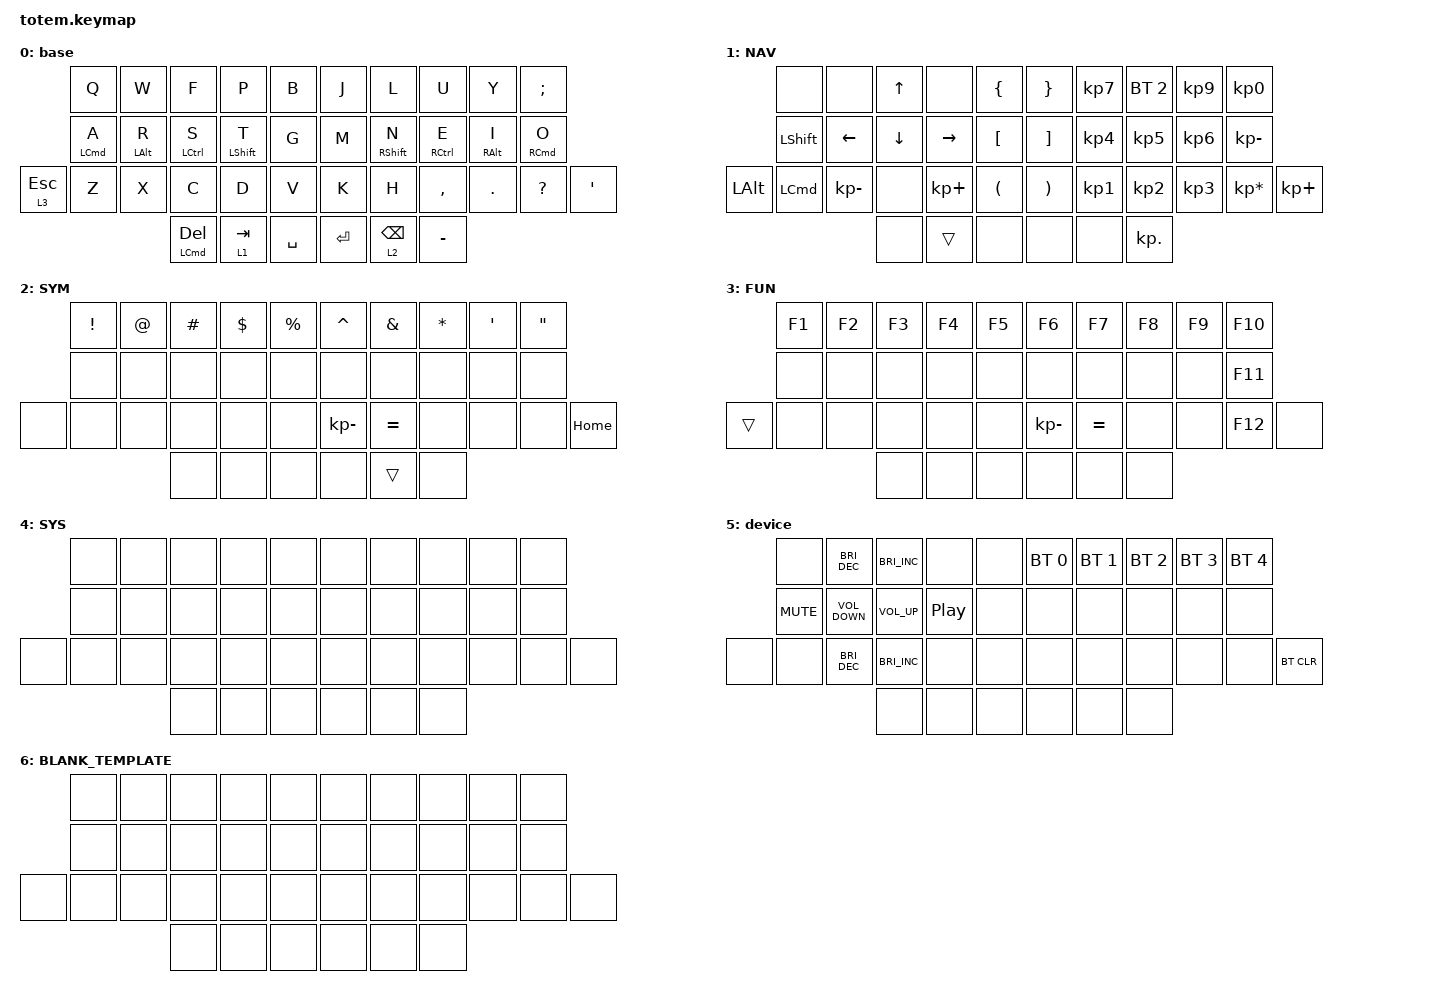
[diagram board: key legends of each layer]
//
//                                                        ▀▀▀▀▀     ▀▀▀▀▀          ▀▀█▀▀
//                                                        ▄▀▀▀▄  ▄  ▄▀▀▀▄  ▄  ▄▀▀▀▄  █  ▄▀▀▀▄
//                                                        █   █  █  █   █  █  █   █  █  █   █
//                                                         ▀▀▀   █   ▀▀▀   █   ▀▀▀   ▀   ▀▀▀
//                                                               █      ▄▄▄█▄▄▄    █   █  
//                                                               ▀      █  █  █     █▄█
//                                                             ▀▀▀▀▀    █  █  █      ▀
//                                                                      ▀  ▀  ▀
//
// ▄▄▄▄▄▄▄▄▄▄▄▄▄▄▄▄▄▄▄▄▄▄▄▄▄▄▄▄▄▄▄▄▄▄▄▄▄▄▄▄▄▄▄▄▄▄▄▄▄▄▄▄▄▄▄▄▄▄▄▄▄▄▄▄▄▄▄▄▄▄▄▄▄▄▄▄▄▄▄▄▄▄▄▄▄▄▄▄▄▄▄▄▄▄▄▄▄▄▄▄▄▄▄▄▄▄▄▄▄▄▄▄▄▄▄▄▄▄▄▄▄▄▄▄▄▄▄▄▄▄▄▄▄▄▄▄▄▄▄▄▄▄▄▄▄▄▄▄▄

#include <behaviors.dtsi>
#include <dt-bindings/zmk/bt.h>
#include <dt-bindings/zmk/keys.h>

/ {
    behaviors {
        tapKP_holdMO_prefTAP: tapKP_holdMO_prefTAP {
            compatible = "zmk,behavior-hold-tap";
            label = "TAPKP_HOLDMO_PREFTAP";
            bindings = <&mo>, <&kp>;

            #binding-cells = <2>;
            flavor = "tap-preferred";
            tapping-term-ms = <200>;
        };

        tapKP_holdKP_prefTAP: tapKP_holdKP_prefTAP {
            compatible = "zmk,behavior-hold-tap";
            label = "TAPKP_HOLDKP_PREFTAP";
            bindings = <&kp>, <&kp>;

            #binding-cells = <2>;
            tapping-term-ms = <200>;
            flavor = "tap-preferred";
        };

        tapKP_holdKP_prefHOLD: tapKP_holdKP_prefHOLD {
            compatible = "zmk,behavior-hold-tap";
            label = "TAPKP_HOLDKP_PREFHOLD";
            bindings = <&kp>, <&kp>;

            #binding-cells = <2>;
            tapping-term-ms = <200>;
            flavor = "hold-preferred";
        };

        tapKP_holdKP_prefBAL: tapKP_holdKP_prefBAL {
            compatible = "zmk,behavior-hold-tap";
            label = "TAPKP_HOLDKP_PREFBAL";
            bindings = <&kp>, <&kp>;

            #binding-cells = <2>;
            tapping-term-ms = <200>;
            flavor = "balanced";
        };
    };

    keymap {
        compatible = "zmk,keymap";

        base {
            bindings = <
                                &kp Q                                 &kp W                             &kp F                                      &kp P                               &kp B        &kp J      &kp L                                &kp U                                  &kp Y                              &kp SEMICOLON
                                &tapKP_holdKP_prefTAP LEFT_COMMAND A  &tapKP_holdKP_prefTAP LEFT_ALT R  &tapKP_holdKP_prefTAP LEFT_CONTROL S       &tapKP_holdKP_prefBAL LEFT_SHIFT T  &kp G        &kp M      &tapKP_holdKP_prefBAL RIGHT_SHIFT N  &tapKP_holdKP_prefTAP RIGHT_CONTROL E  &tapKP_holdKP_prefTAP RIGHT_ALT I  &tapKP_holdKP_prefBAL RIGHT_COMMAND O
&tapKP_holdMO_prefTAP 3 ESCAPE  &kp Z                                 &kp X                             &kp C                                      &kp D                               &kp V        &kp K      &kp H                                &kp COMMA                              &kp DOT                            &kp QUESTION                           &kp APOS
                                                                                                        &tapKP_holdKP_prefBAL LEFT_COMMAND DELETE  &tapKP_holdMO_prefTAP 1 TAB         &kp SPACE    &kp ENTER  &tapKP_holdMO_prefTAP 2 BACKSPACE    &kp MINUS
            >;
        };

        NAV {
            bindings = <
              &none             &none           &kp UP_ARROW    &none        &kp LEFT_BRACE          &kp RIGHT_BRACE        &kp KP_NUMBER_7  &bt BT_SEL 2     &kp KP_NUMBER_9  &kp KP_NUMBER_0
              &kp LEFT_SHIFT    &kp LEFT_ARROW  &kp DOWN_ARROW  &kp RIGHT    &kp LEFT_BRACKET        &kp RIGHT_BRACKET      &kp KP_NUMBER_4  &kp KP_NUMBER_5  &kp KP_NUMBER_6  &kp KP_MINUS
&kp LEFT_ALT  &kp LEFT_COMMAND  &kp KP_MINUS    &none           &kp KP_PLUS  &kp LEFT_PARENTHESIS    &kp RIGHT_PARENTHESIS  &kp KP_NUMBER_1  &kp KP_NUMBER_2  &kp KP_NUMBER_3  &kp KP_ASTERISK  &kp KP_PLUS
                                                &none           &trans       &none                   &none                  &none            &kp KP_DOT
            >;
        };

        SYM {
            bindings = <
       &kp EXCLAMATION  &kp AT_SIGN  &kp POUND  &kp DOLLAR  &kp PERCENT    &kp CARET     &kp AMPERSAND  &kp ASTRK  &kp APOSTROPHE  &kp DOUBLE_QUOTES
       &none            &none        &none      &none       &none          &none         &none          &none      &none           &none
&none  &none            &none        &none      &none       &none          &kp KP_MINUS  &kp EQUAL      &none      &none           &none              &kp HOME
                                     &none      &none       &none          &none         &trans         &none
            >;
        };

        FUN {
            bindings = <
        &kp F1  &kp F2  &kp F3  &kp F4  &kp F5    &kp F6        &kp F7     &kp F8  &kp F9  &kp F10
        &none   &none   &none   &none   &none     &none         &none      &none   &none   &kp F11
&trans  &none   &none   &none   &none   &none     &kp KP_MINUS  &kp EQUAL  &none   &none   &kp F12  &none
                        &none   &none   &none     &none         &none      &none
            >;
        };

        SYS {
            bindings = <
       &none  &none  &none  &none  &none    &none  &none  &none  &none  &none
       &none  &none  &none  &none  &none    &none  &none  &none  &none  &none
&none  &none  &none  &none  &none  &none    &none  &none  &none  &none  &none  &none
                     &none  &none  &none    &none  &none  &none
            >;
        };

        device {
            bindings = <
       &none       &kp C_BRIGHTNESS_DEC  &kp C_BRIGHTNESS_INC  &none             &none    &bt BT_SEL 0  &bt BT_SEL 1  &bt BT_SEL 2  &bt BT_SEL 3  &bt BT_SEL 4
       &kp K_MUTE  &kp C_VOLUME_DOWN     &kp C_VOLUME_UP       &kp C_PLAY_PAUSE  &none    &none         &none         &none         &none         &none
&none  &none       &kp C_BRIGHTNESS_DEC  &kp C_BRIGHTNESS_INC  &none             &none    &none         &none         &none         &none         &none         &bt BT_CLR
                                         &none                 &none             &none    &none         &none         &none
            >;
        };

        BLANK_TEMPLATE {
            bindings = <
       &none  &none  &none  &none  &none    &none  &none  &none  &none  &none
       &none  &none  &none  &none  &none    &none  &none  &none  &none  &none
&none  &none  &none  &none  &none  &none    &none  &none  &none  &none  &none  &none
                     &none  &none  &none    &none  &none  &none
            >;
        };

        extra3 { status = "reserved"; };
    };

    conditional_layers {
        compatible = "zmk,conditional-layers";

        device {
            if-layers = <7 7>;
            then-layer = <10>;
        };
    };
};
